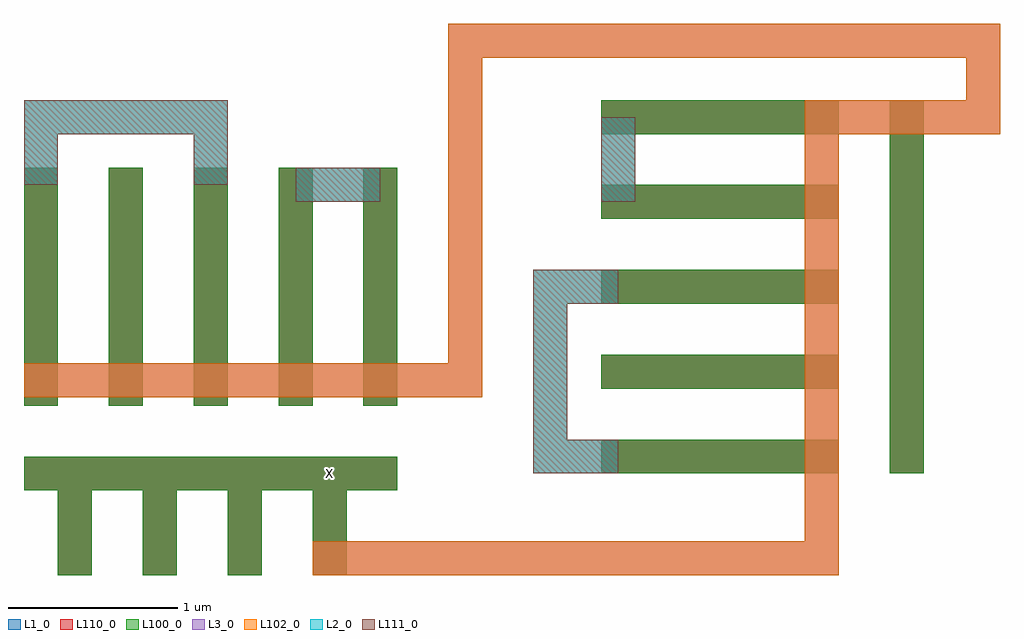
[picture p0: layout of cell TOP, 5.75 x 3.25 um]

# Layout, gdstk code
from math import pi, radians
import gdstk
lib = gdstk.Library(unit=1e-6, precision=1e-09)
def R(c, l, rs):  # rectangles x0, y0, x1, y1
    for r in rs: c.add(gdstk.rectangle(r[:2], r[2:], *l))
def A(c, l, x, y, w, h, nx, ny, dx, dy):  # array of equal rectangles
    R(c, l, [(x+i*dx, y+j*dy, x+i*dx+w, y+j*dy+h) for i in range(nx) for j in range(ny)])
def P(c, l, *ps):  # polygons
    for p in ps: c.add(gdstk.Polygon(p, *l))
L1_0 = (1, 0)
L2_0 = (2, 0)
L3_0 = (3, 0)
L100_0 = (100, 0)
L102_0 = (102, 0)
L110_0 = (110, 0)
L111_0 = (111, 0)

c_a = lib.new_cell('A')
R(c_a, L1_0, [(0,0,0.2,1.4)])
c_a.add(gdstk.Label('X', (0.1,0.7), layer=1, texttype=0))

c_b = lib.new_cell('B')
R(c_b, L1_0, [(0,-0.5,2.2,-0.3)])
R(c_b, L2_0, [(1.6,1.2,2.1,1.4)])
P(c_b, L2_0, [(0,1.3),(0,1.8),(1.2,1.8),(1.2,1.3),(1,1.3),(1,1.6),(0.2,1.6),(0.2,1.3)])
A(c_b, L110_0, 0, 0, 0.2, 1.4, 5, 1, 0.5, 0)
R(c_b, L111_0, [(1.6,1.2,2.1,1.4)])
P(c_b, L111_0, [(0,1.3),(0,1.8),(1.2,1.8),(1.2,1.3),(1,1.3),(1,1.6),(0.2,1.6),(0.2,1.3)])
c_b.add(gdstk.Reference(c_a, (0,0)))
c_b.add(gdstk.Reference(c_a, (0.5,0)))
c_b.add(gdstk.Reference(c_a, (1,0)))
c_b.add(gdstk.Reference(c_a, (1.5,0)))
c_b.add(gdstk.Reference(c_a, (2,0)))
c_b.add(gdstk.Label('A', (1.1,-0.4), layer=1, texttype=0))
c_b.add(gdstk.Label('A', (0.6,1.7), layer=2, texttype=0))
c_b.add(gdstk.Label('X', (1.9,1.3), layer=2, texttype=0))

top = lib.new_cell('TOP')
A(top, L1_0, 0.4, -0.3, 0.2, 0.7, 4, 1, 0.5, 0)
R(top, L3_0, [(1.9,-0.3,5,-0.1), (4.8,-0.1,5,0.95), (0.2,0.75,2.9,0.95), (2.7,0.95,2.9,2.75), (2.7,2.75,4.8,2.95)])
P(top, L3_0, [(4.8,0.95),(4.8,2.5),(5.75,2.5),(5.75,2.75),(4.8,2.75),(4.8,2.95),(5.95,2.95),(5.95,2.3),(5,2.3),(5,0.95)])
A(top, L100_0, 0.4, -0.3, 0.2, 0.7, 4, 1, 0.5, 0)
A(top, L100_0, 3.6, 0.3, 1.4, 0.2, 1, 5, 0, 0.5)
A(top, L100_0, 0.2, 0.7, 0.2, 1.4, 5, 1, 0.5, 0)
R(top, L100_0, [(0.2,0.2,2.4,0.4), (5.3,0.3,5.5,2.5)])
R(top, L102_0, [(1.9,-0.3,5,-0.1), (4.8,-0.1,5,0.95), (0.2,0.75,2.9,0.95), (2.7,0.95,2.9,2.75), (2.7,2.75,4.8,2.95)])
P(top, L102_0, [(4.8,0.95),(4.8,2.5),(5.75,2.5),(5.75,2.75),(4.8,2.75),(4.8,2.95),(5.95,2.95),(5.95,2.3),(5,2.3),(5,0.95)])
A(top, L110_0, 0.4, -0.3, 0.2, 0.7, 4, 1, 0.5, 0)
R(top, L110_0, [(0.2,0.2,2.4,0.4), (5.3,0.3,5.5,2.5)])
top.add(gdstk.Reference(c_b, (0.2,0.7)))
top.add(gdstk.Reference(c_b, (5,0.3), rotation=pi/2))
top.add(gdstk.Label('X', (2,0.3), layer=1, texttype=0))

lib.write_gds('TOP.gds')
